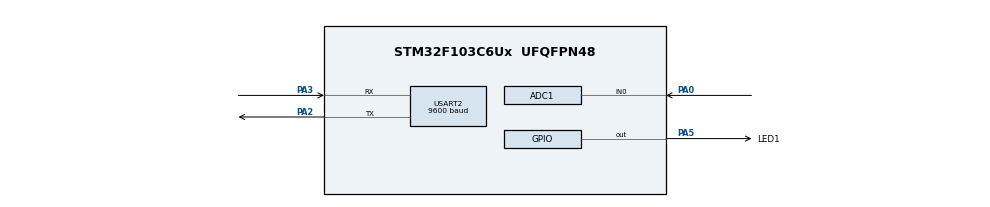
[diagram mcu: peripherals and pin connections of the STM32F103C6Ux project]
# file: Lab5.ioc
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ADC1.Channel-0\#ChannelRegularConversion=ADC_CHANNEL_0
ADC1.ContinuousConvMode=ENABLE
ADC1.NbrOfConversionFlag=1
ADC1.Rank-0\#ChannelRegularConversion=1
ADC1.SamplingTime-0\#ChannelRegularConversion=ADC_SAMPLETIME_1CYCLE_5
ADC1.master=1
Mcu.Family=STM32F1
Mcu.Name=STM32F103C6Ux
Mcu.Package=UFQFPN48
NVIC.PriorityGroup=NVIC_PRIORITYGROUP_4
NVIC.TIM2_IRQn=true\:0\:0\:false\:false\:true\:true\:true
NVIC.USART2_IRQn=true\:0\:0\:false\:false\:true\:true\:true
PA0-WKUP.Signal=ADCx_IN0
PA2.Mode=Asynchronous
PA2.Signal=USART2_TX
PA3.Mode=Asynchronous
PA3.Signal=USART2_RX
PA5.GPIO_Label=LED1
PA5.Signal=GPIO_Output
PA6.Signal=S_TIM3_CH1
ProjectManager.HeapSize=0x200
ProjectManager.StackSize=0x400
ProjectManager.TargetToolchain=STM32CubeIDE
RCC.APB1Freq_Value=8000000
RCC.APB2Freq_Value=8000000
SH.ADCx_IN0.0=ADC1_IN0,IN0
SH.S_TIM3_CH1.0=TIM3_CH1
TIM2.Period=9
TIM2.Prescaler=7999
USART2.BaudRate=9600
USART2.VirtualMode=VM_ASYNC
VP_SYS_VS_ND.Mode=No_Debug
VP_TIM2_VS_ClockSourceINT.Mode=Internal
board=custom

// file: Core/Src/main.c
/* USER CODE BEGIN Header */
/**
  ******************************************************************************
  * @file           : main.c
  * @brief          : Main program body
  ******************************************************************************
  * @attention
  *
  * <h2><center>&copy; Copyright (c) 2023 STMicroelectronics.
  * All rights reserved.</center></h2>
  *
  * This software component is licensed by ST under BSD 3-Clause license,
  * the "License"; You may not use this file except in compliance with the
  * License. You may obtain a copy of the License at:
  *                        opensource.org/licenses/BSD-3-Clause
  *
  ******************************************************************************
  */
/* USER CODE END Header */
#include "main.h"
#include "fsm.h"
#include "software_timer.h"

ADC_HandleTypeDef hadc1;

TIM_HandleTypeDef htim2;

UART_HandleTypeDef huart2;

void SystemClock_Config(void);
static void MX_GPIO_Init(void);
static void MX_ADC1_Init(void);
static void MX_TIM2_Init(void);
static void MX_USART2_UART_Init(void);

int main(void)
{

  /* MCU Configuration--------------------------------------------------------*/

  /* Reset of all peripherals, Initializes the Flash interface and the Systick. */
  HAL_Init();

  /* Configure the system clock */
  SystemClock_Config();

  /* Initialize all configured peripherals */
  MX_GPIO_Init();
  MX_ADC1_Init();
  MX_TIM2_Init();
  MX_USART2_UART_Init();
  /* USER CODE BEGIN 2 */
  temp = 0;
  HAL_TIM_Base_Start_IT(&htim2);
  HAL_UART_Receive_IT(&huart2, &temp, 1);
  HAL_ADC_Start(&hadc1);
  /* USER CODE END 2 */

  /* Infinite loop */
  /* USER CODE BEGIN WHILE */
  command_status = CHECK;
  uart_status = WAIT;
  uint32_t ADC_value;
  uint8_t str[30];
  while (1)
  {
    /* USER CODE END WHILE */
    /* USER CODE BEGIN 3 */
	  if (buffer_flag == 1){
		  command_parser_fsm();
		  buffer_flag = 0;
	  }
	  uart_communication_fsm();
	  if (command_flag == 1) {
		  ADC_value = HAL_ADC_GetValue(&hadc1);
		  HAL_UART_Transmit(&huart2, (void *)str,  sprintf(str, "\n!ADC=%ld#\n", ADC_value), 1000);
		  command_flag = 0;
	  }
  }
  /* USER CODE END 3 */
}

void SystemClock_Config(void)
{
  RCC_OscInitTypeDef RCC_OscInitStruct = {0};
  RCC_ClkInitTypeDef RCC_ClkInitStruct = {0};
  RCC_PeriphCLKInitTypeDef PeriphClkInit = {0};

  /** Initializes the RCC Oscillators according to the specified parameters
  * in the RCC_OscInitTypeDef structure.
  */
  RCC_OscInitStruct.OscillatorType = RCC_OSCILLATORTYPE_HSI;
  RCC_OscInitStruct.HSIState = RCC_HSI_ON;
  RCC_OscInitStruct.HSICalibrationValue = RCC_HSICALIBRATION_DEFAULT;
  RCC_OscInitStruct.PLL.PLLState = RCC_PLL_NONE;
  if (HAL_RCC_OscConfig(&RCC_OscInitStruct) != HAL_OK)
  {
    Error_Handler();
  }
  /** Initializes the CPU, AHB and APB buses clocks
  */
  RCC_ClkInitStruct.ClockType = RCC_CLOCKTYPE_HCLK|RCC_CLOCKTYPE_SYSCLK
                              |RCC_CLOCKTYPE_PCLK1|RCC_CLOCKTYPE_PCLK2;
  RCC_ClkInitStruct.SYSCLKSource = RCC_SYSCLKSOURCE_HSI;
  RCC_ClkInitStruct.AHBCLKDivider = RCC_SYSCLK_DIV1;
  RCC_ClkInitStruct.APB1CLKDivider = RCC_HCLK_DIV1;
  RCC_ClkInitStruct.APB2CLKDivider = RCC_HCLK_DIV1;

  if (HAL_RCC_ClockConfig(&RCC_ClkInitStruct, FLASH_LATENCY_0) != HAL_OK)
  {
    Error_Handler();
  }
  PeriphClkInit.PeriphClockSelection = RCC_PERIPHCLK_ADC;
  PeriphClkInit.AdcClockSelection = RCC_ADCPCLK2_DIV2;
  if (HAL_RCCEx_PeriphCLKConfig(&PeriphClkInit) != HAL_OK)
  {
    Error_Handler();
  }
}

static void MX_ADC1_Init(void)
{

  ADC_ChannelConfTypeDef sConfig = {0};

  /** Common config
  */
  hadc1.Instance = ADC1;
  hadc1.Init.ScanConvMode = ADC_SCAN_DISABLE;
  hadc1.Init.ContinuousConvMode = ENABLE;
  hadc1.Init.DiscontinuousConvMode = DISABLE;
  hadc1.Init.ExternalTrigConv = ADC_SOFTWARE_START;
  hadc1.Init.DataAlign = ADC_DATAALIGN_RIGHT;
  hadc1.Init.NbrOfConversion = 1;
  if (HAL_ADC_Init(&hadc1) != HAL_OK)
  {
    Error_Handler();
  }
  /** Configure Regular Channel
  */
  sConfig.Channel = ADC_CHANNEL_0;
  sConfig.Rank = ADC_REGULAR_RANK_1;
  sConfig.SamplingTime = ADC_SAMPLETIME_1CYCLE_5;
  if (HAL_ADC_ConfigChannel(&hadc1, &sConfig) != HAL_OK)
  {
    Error_Handler();
  }

}

static void MX_TIM2_Init(void)
{

  TIM_ClockConfigTypeDef sClockSourceConfig = {0};
  TIM_MasterConfigTypeDef sMasterConfig = {0};

  htim2.Instance = TIM2;
  htim2.Init.Prescaler = 7999;
  htim2.Init.CounterMode = TIM_COUNTERMODE_UP;
  htim2.Init.Period = 9;
  htim2.Init.ClockDivision = TIM_CLOCKDIVISION_DIV1;
  htim2.Init.AutoReloadPreload = TIM_AUTORELOAD_PRELOAD_DISABLE;
  if (HAL_TIM_Base_Init(&htim2) != HAL_OK)
  {
    Error_Handler();
  }
  sClockSourceConfig.ClockSource = TIM_CLOCKSOURCE_INTERNAL;
  if (HAL_TIM_ConfigClockSource(&htim2, &sClockSourceConfig) != HAL_OK)
  {
    Error_Handler();
  }
  sMasterConfig.MasterOutputTrigger = TIM_TRGO_RESET;
  sMasterConfig.MasterSlaveMode = TIM_MASTERSLAVEMODE_DISABLE;
  if (HAL_TIMEx_MasterConfigSynchronization(&htim2, &sMasterConfig) != HAL_OK)
  {
    Error_Handler();
  }

}

static void MX_USART2_UART_Init(void)
{

  huart2.Instance = USART2;
  huart2.Init.BaudRate = 9600;
  huart2.Init.WordLength = UART_WORDLENGTH_8B;
  huart2.Init.StopBits = UART_STOPBITS_1;
  huart2.Init.Parity = UART_PARITY_NONE;
  huart2.Init.Mode = UART_MODE_TX_RX;
  huart2.Init.HwFlowCtl = UART_HWCONTROL_NONE;
  huart2.Init.OverSampling = UART_OVERSAMPLING_16;
  if (HAL_UART_Init(&huart2) != HAL_OK)
  {
    Error_Handler();
  }

}

static void MX_GPIO_Init(void)
{
  GPIO_InitTypeDef GPIO_InitStruct = {0};

  /* GPIO Ports Clock Enable */
  __HAL_RCC_GPIOA_CLK_ENABLE();

  /*Configure GPIO pin Output Level */
  HAL_GPIO_WritePin(LED1_GPIO_Port, LED1_Pin, GPIO_PIN_RESET);

  /*Configure GPIO pin : LED1_Pin */
  GPIO_InitStruct.Pin = LED1_Pin;
  GPIO_InitStruct.Mode = GPIO_MODE_OUTPUT_PP;
  GPIO_InitStruct.Pull = GPIO_NOPULL;
  GPIO_InitStruct.Speed = GPIO_SPEED_FREQ_LOW;
  HAL_GPIO_Init(LED1_GPIO_Port, &GPIO_InitStruct);

  /*Configure GPIO pin : PA6 */
  GPIO_InitStruct.Pin = GPIO_PIN_6;
  GPIO_InitStruct.Mode = GPIO_MODE_AF_PP;
  GPIO_InitStruct.Speed = GPIO_SPEED_FREQ_LOW;
  HAL_GPIO_Init(GPIOA, &GPIO_InitStruct);

}

/* USER CODE BEGIN 4 */
void HAL_TIM_PeriodElapsedCallback(TIM_HandleTypeDef *htim){
	timerRun();
}
/* USER CODE END 4 */

void Error_Handler(void)
{
  __disable_irq();
  while (1)
  {
  }
}

/************************ (C) COPYRIGHT STMicroelectronics *****END OF FILE****/
